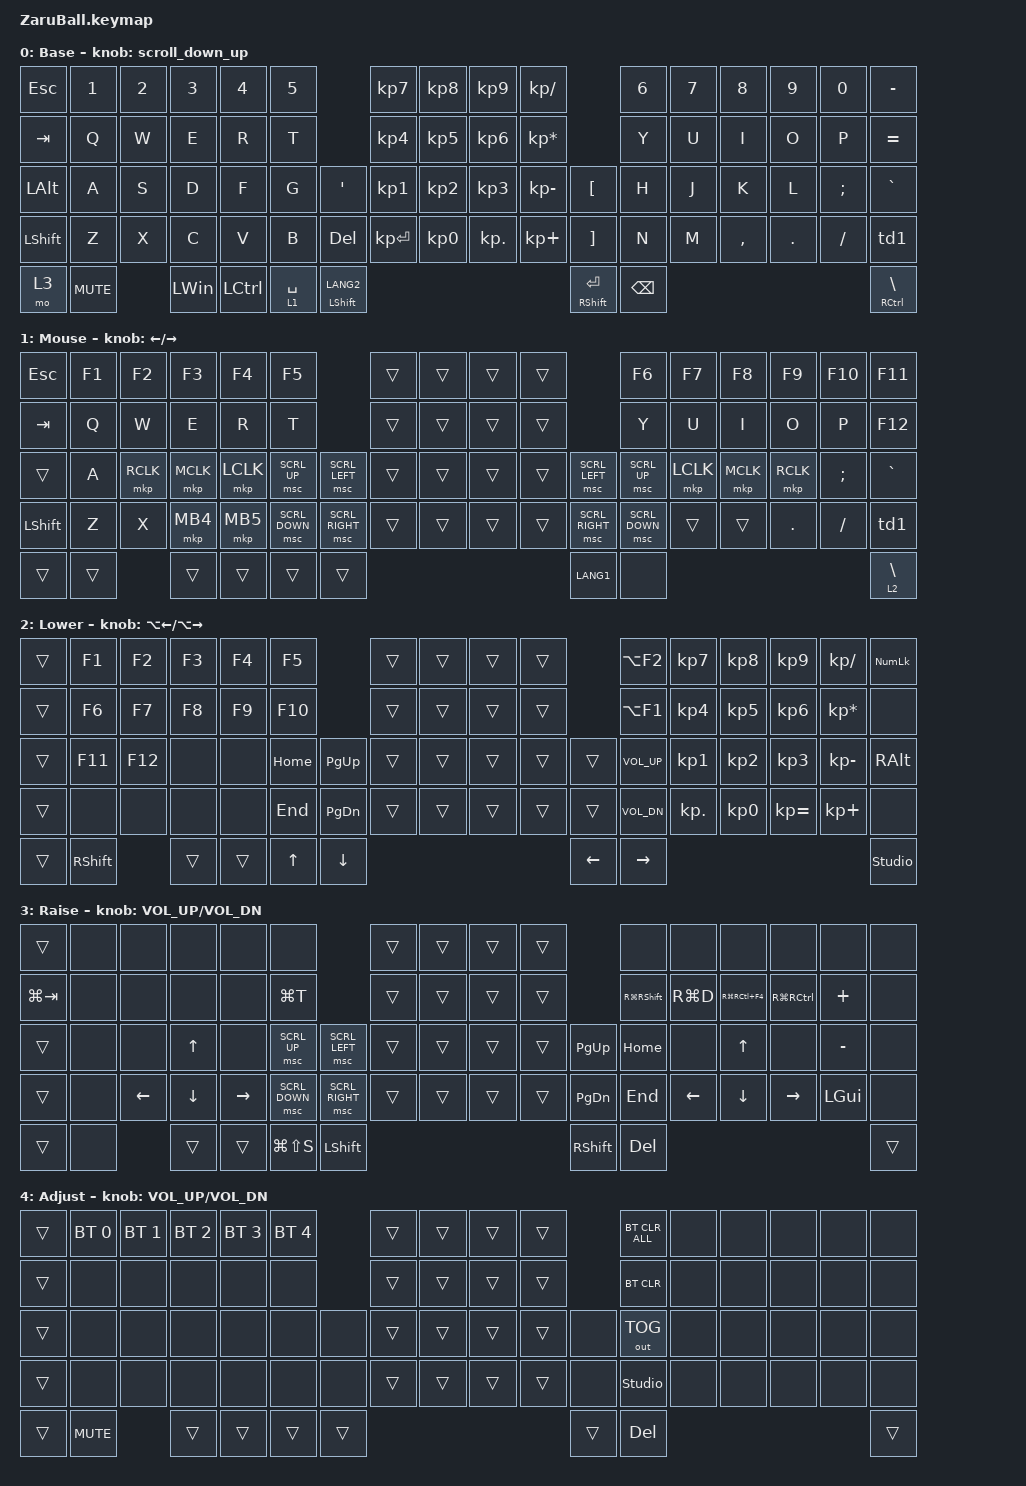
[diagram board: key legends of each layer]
//#include <dt-bindings/zmk/mouse.h>

#include <behaviors/rgbled_widget.dtsi>
#include <input/processors.dtsi>
#include <dt-bindings/zmk/input_transform.h>
#include <behaviors.dtsi>
#include <dt-bindings/zmk/bt.h>
#include <dt-bindings/zmk/keys.h>
#include <dt-bindings/zmk/outputs.h>
#include <dt-bindings/zmk/pointing.h>

#define BASE     0
#define MOUSE    1
#define LOWER    2
#define RAISE    3
#define ADJUST   4
#define SCROLL   2

// スクロール量の設定

#define ZMK_POINTING_DEFAULT_SCRL_VAL 100

&trackball_listener {
    input-processors = <
                         &zip_xy_transform (INPUT_TRANSFORM_XY_SWAP | INPUT_TRANSFORM_Y_INVERT | INPUT_TRANSFORM_X_INVERT)
                         //&zip_temp_layer MOUSE 500
    >;

    scroller {
        layers = <SCROLL>;
        input-processors = <
                            &zip_xy_transform (INPUT_TRANSFORM_XY_SWAP | INPUT_TRANSFORM_X_INVERT)
                            &zip_xy_scaler 1 20
                            &zip_xy_to_scroll_mapper
        >;
    };
};

/ {
    conditional_layers { compatible = "zmk,conditional-layers"; };
};

/ {
    behaviors {
        // スクロール用のbehaviorの設定

        scroll_down_up: behavior_sensor_rotate_mouse_wheel_down_up {
            compatible = "zmk,behavior-sensor-rotate";
            #sensor-binding-cells = <0>;
            bindings = <&msc SCRL_DOWN>, <&msc SCRL_UP>;

            tap-ms = <20>; // スクロールのタップ時間
        };

        td0: tap_dance_0 {
            compatible = "zmk,behavior-tap-dance";
            #binding-cells = <0>;
            tapping-term-ms = <200>;
            bindings = <&mt LALT LANG2>, <&mo RAISE>, <&mo MOUSE>;
        };

        td1: tap_dance_1 {
            compatible = "zmk,behavior-tap-dance";
            #binding-cells = <0>;
            tapping-term-ms = <200>;
            bindings = <&mo 2>, <&kp RCTRL>, <&mo MOUSE>;
        };

        // Customed Hold-Tap for SandS

        SandS: SandS {
            compatible = "zmk,behavior-hold-tap";
            #binding-cells = <2>;
            flavor = "tap-unless-interrupted";
            tapping-term-ms = <500>;
            quick-tap-ms = <500>;
            bindings = <&kp>, <&kp>;

            display-name = "SandS";
        };
    };
};

&sl { release-after-ms = <250>; }; // time needed for double click (for mkp_exit_AML)
/ {
    macros {
        // When in AML, move to default layer when key (except mouse button) pressed

        to_layer_0: to_layer_0 {
            compatible = "zmk,behavior-macro-one-param";
            #binding-cells = <1>;
            bindings = <&tog MOUSE &macro_param_1to1 &kp MACRO_PLACEHOLDER>;
            label = "TO_layer_0";
        };

        // When LCLK pressed, exit AML (after 250ms cause by sticky layer
    };
};

/ {
    keymap {
        compatible = "zmk,keymap";

        base_layer {
            display-name = "Base";
            sensor-bindings = <&scroll_down_up>;
            bindings = <
&kp ESC       &kp N1      &kp N2  &kp N3    &kp N4     &kp N5                               &kp KP_N7     &kp KP_N8  &kp KP_N9   &kp KP_DIVIDE                      &kp NUMBER_6  &kp N7  &kp N8     &kp N9   &kp N0    &kp MINUS
&kp TAB       &kp Q       &kp W   &kp E     &kp R      &kp T                                &kp KP_N4     &kp KP_N5  &kp KP_N6   &kp KP_MULTIPLY                    &kp Y         &kp U   &kp I      &kp O    &kp P     &kp EQUAL
&kp LEFT_ALT  &kp A       &kp S   &kp D     &kp F      &kp G        &kp SQT                 &kp KP_N1     &kp KP_N2  &kp KP_N3   &kp KP_MINUS       &kp LBKT        &kp H         &kp J   &kp K      &kp L    &kp SEMI  &kp GRAVE
&kp LSHFT     &kp Z       &kp X   &kp C     &kp V      &kp B        &kp DEL                 &kp KP_ENTER  &kp KP_N0  &kp KP_DOT  &kp KP_PLUS        &kp RBKT        &kp N         &kp M   &kp COMMA  &kp DOT  &kp FSLH  &td1
&mo 3         &kp C_MUTE          &kp LWIN  &kp LCTRL  &lt 1 SPACE  &mt LEFT_SHIFT LANG2                                                            &mt RSHIFT RET  &kp BSPC                                            &mt RCTRL BACKSLASH
            >;
        };

        mouse_layer {
            display-name = "Mouse";
            sensor-bindings = <&inc_dec_kp LEFT_ARROW RIGHT_ARROW>;
            bindings = <
&kp ESC     &kp F1  &kp F2     &kp F3     &kp F4     &kp F5                             &trans  &trans  &trans  &trans                     &kp F6          &kp F7     &kp F8     &kp F9      &kp F10    &kp F11
&kp TAB     &kp Q   &kp W      &kp E      &kp R      &kp T                              &trans  &trans  &trans  &trans                     &kp Y           &kp U      &kp I      &kp O       &kp P      &kp F12
&trans      &kp A   &mkp RCLK  &mkp MCLK  &mkp LCLK  &msc SCRL_UP    &msc SCRL_LEFT     &trans  &trans  &trans  &trans    &msc SCRL_LEFT   &msc SCRL_UP    &mkp LCLK  &mkp MCLK  &mkp RCLK   &kp SEMI   &kp GRAVE
&kp LSHIFT  &kp Z   &kp X      &mkp MB4   &mkp MB5   &msc SCRL_DOWN  &msc SCRL_RIGHT    &trans  &trans  &trans  &trans    &msc SCRL_RIGHT  &msc SCRL_DOWN  &trans     &trans     &kp PERIOD  &kp SLASH  &td1
&trans      &trans             &trans     &trans     &trans          &trans                                               &kp LANG1        &none                                                        &lt 2 BACKSLASH
            >;
        };

        lower_layer {
            display-name = "Lower";
            sensor-bindings = <&inc_dec_kp LA(LEFT_ARROW) LA(RIGHT_ARROW)>;
            bindings = <
&trans  &kp F1     &kp F2   &kp F3  &kp F4  &kp F5                          &trans  &trans  &trans  &trans                    &kp LA(F2)       &kp KP_N7   &kp KP_N8  &kp KP_N9     &kp KP_SLASH     &kp KP_NUMLOCK
&trans  &kp F6     &kp F7   &kp F8  &kp F9  &kp F10                         &trans  &trans  &trans  &trans                    &kp LA(F1)       &kp KP_N4   &kp KP_N5  &kp KP_N6     &kp KP_MULTIPLY  &none
&trans  &kp F11    &kp F12  &none   &none   &kp HOME      &kp PG_UP         &trans  &trans  &trans  &trans    &trans          &kp C_VOL_UP     &kp KP_N1   &kp KP_N2  &kp KP_N3     &kp KP_MINUS     &kp RALT
&trans  &none      &none    &none   &none   &kp END       &kp PG_DN         &trans  &trans  &trans  &trans    &trans          &kp C_VOL_DN     &kp KP_DOT  &kp KP_N0  &kp KP_EQUAL  &kp KP_PLUS      &none
&trans  &kp RSHFT           &trans  &trans  &kp UP_ARROW  &kp DOWN_ARROW                                      &kp LEFT_ARROW  &kp RIGHT_ARROW                                                        &studio_unlock
            >;
        };

        raise_layer {
            display-name = "Raise";
            sensor-bindings = <&inc_dec_kp C_VOL_UP C_VOL_DN>;
            bindings = <
&trans       &none  &none           &none           &none            &none                              &trans  &trans  &trans  &trans               &none                &none      &none           &none          &none         &none
&kp LG(TAB)  &none  &none           &none           &none            &kp LG(T)                          &trans  &trans  &trans  &trans               &kp RG(RIGHT_SHIFT)  &kp RG(D)  &kp RG(RC(F4))  &kp RG(RCTRL)  &kp PLUS      &none
&trans       &none  &none           &kp UP_ARROW    &none            &msc SCRL_UP    &msc SCRL_LEFT     &trans  &trans  &trans  &trans    &kp PG_UP  &kp HOME             &none      &kp UP          &none          &kp MINUS     &none
&trans       &none  &kp LEFT_ARROW  &kp DOWN_ARROW  &kp RIGHT_ARROW  &msc SCRL_DOWN  &msc SCRL_RIGHT    &trans  &trans  &trans  &trans    &kp PG_DN  &kp END              &kp LEFT   &kp DOWN        &kp RIGHT      &kp LEFT_GUI  &none
&trans       &none                  &trans          &trans           &kp LG(LS(S))   &kp LEFT_SHIFT                                       &kp RSHFT  &kp DEL                                                                      &trans
            >;
        };

        adjust_layer {
            display-name = "Adjust";
            sensor-bindings = <&inc_dec_kp C_VOL_UP C_VOL_DN>;
            bindings = <
&trans  &bt BT_SEL 0  &bt BT_SEL 1  &bt BT_SEL 2  &bt BT_SEL 3  &bt BT_SEL 4            &trans  &trans  &trans  &trans            &bt BT_CLR_ALL  &none  &none  &none  &none  &none
&trans  &none         &none         &none         &none         &none                   &trans  &trans  &trans  &trans            &bt BT_CLR      &none  &none  &none  &none  &none
&trans  &none         &none         &none         &none         &none         &none     &trans  &trans  &trans  &trans    &none   &out OUT_TOG    &none  &none  &none  &none  &none
&trans  &none         &none         &none         &none         &none         &none     &trans  &trans  &trans  &trans    &none   &studio_unlock  &none  &none  &none  &none  &none
&trans  &kp C_MUTE                  &trans        &trans        &trans        &trans                                      &trans  &kp DEL                                     &trans
            >;
        };

        // Extra layer can be added in ZMK STUDIO

        extra1 { status = "reserved"; };

        extra2 { status = "reserved"; };
    };
};
